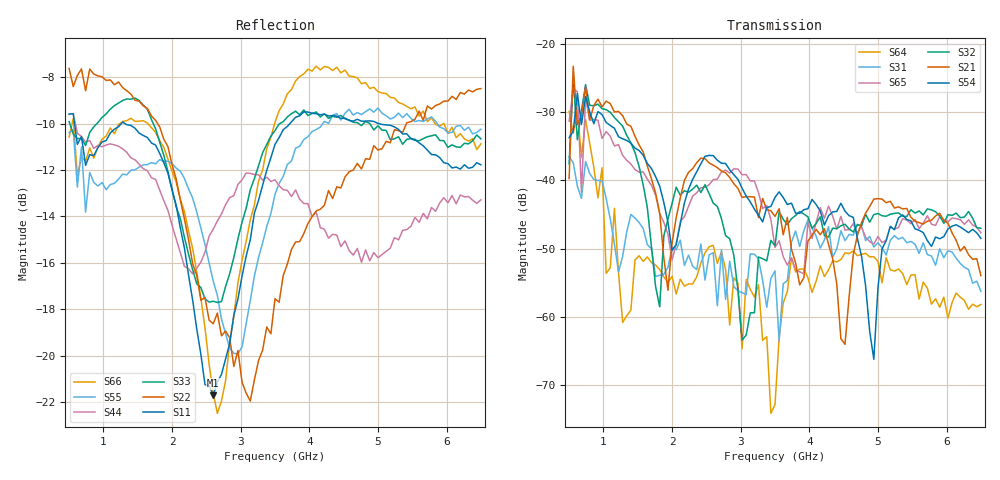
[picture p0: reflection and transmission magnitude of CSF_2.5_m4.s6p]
!Keysight Technologies,M9804A,MY58100912,A.14.10.03
!Date: Thursday, April 27, 2023 10:28:33
!Correction: S11(C  6-Port  )
!S12(C  6-Port  )
!S13(C  6-Port  )
!S14(C  6-Port  )
!S15(C  6-Port  )
!S16(C  6-Port  )
!S21(C  6-Port  )
!S22(C  6-Port  )
!S23(C  6-Port  )
!S24(C  6-Port  )
!S25(C  6-Port  )
!S26(C  6-Port  )
!S31(C  6-Port  )
!S32(C  6-Port  )
!S33(C  6-Port  )
!S34(C  6-Port  )
!S35(C  6-Port  )
!S36(C  6-Port  )
!S41(C  6-Port  )
!S42(C  6-Port  )
!S43(C  6-Port  )
!S44(C  6-Port  )
!S45(C  6-Port  )
!S46(C  6-Port  )
!S51(C  6-Port  )
!S52(C  6-Port  )
!S53(C  6-Port  )
!S54(C  6-Port  )
!S55(C  6-Port  )
!S56(C  6-Port  )
!S61(C  6-Port  )
!S62(C  6-Port  )
!S63(C  6-Port  )
!S64(C  6-Port  )
!S65(C  6-Port  )
!S66(C  6-Port  )
!S6P File: Measurement: :
# Hz S  RI  R 50
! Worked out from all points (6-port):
!   101 points, 500 MHz to 6.5 GHz, reference 50 ohm
!   strongest paths, dB at 500 MHz, 2 GHz, 3.5 GHz, 5 GHz, 6.5 GHz:
!     S54: -33.7, -50.3, -42.5, -55.8, -48.5
!     S21: -39.7, -49.2, -45.3, -42.7, -54.0
!     S32: -37.5, -43.4, -49.6, -44.9, -47.0
!     S65: -31.3, -51.7, -49.8, -48.2, -47.7
!     S31: -36.5, -49.9, -53.3, -49.1, -56.3
!     S64: -29.9, -54.1, -72.9, -51.9, -58.2
!   lowest |S11| = -21.7 dB at 2.6 GHz (marker M1), VSWR 1.18, Z = 42.7 + j2.09 ohm
!   |S11| at or under -10 dB: 579.4 MHz to 1.26 GHz (680.3 MHz wide, 74 % of centre); 1.315 GHz to 3.716 GHz (2.401 GHz wide, 95.5 % of centre); 5.014 GHz to end of sweep
